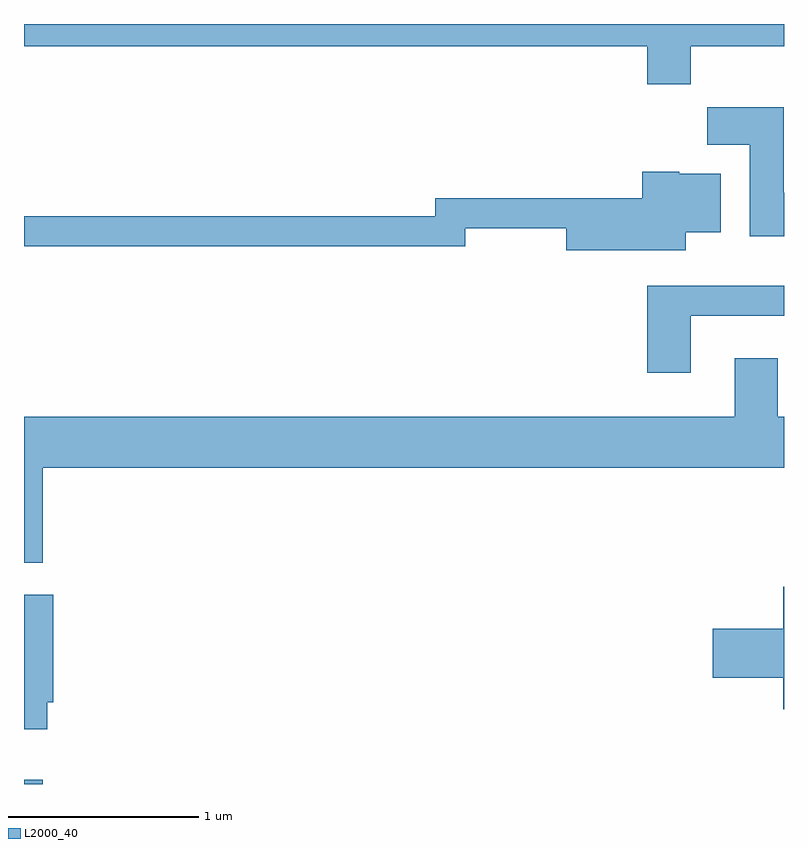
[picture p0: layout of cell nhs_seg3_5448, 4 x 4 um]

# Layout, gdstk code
import gdstk
lib = gdstk.Library(unit=1e-6, precision=1e-09)
def R(c, l, rs):  # rectangles x0, y0, x1, y1
    for r in rs: c.add(gdstk.rectangle(r[:2], r[2:], *l))
def P(c, l, *ps):  # polygons
    for p in ps: c.add(gdstk.Polygon(p, *l))
L2000_40 = (2000, 40)

nhs_seg3_5448 = lib.new_cell('nhs_seg3_5448')
R(nhs_seg3_5448, L2000_40, [(345.611,1139.892,345.709,1139.914)])
P(nhs_seg3_5448, L2000_40, [(349.119,1143.776),(349.611,1143.776),(349.611,1143.892),(345.611,1143.892),(345.611,1143.776),(348.891,1143.776),(348.891,1143.576),(349.119,1143.576)],
  [(349.611,1143.004),(349.609,1143.004),(349.609,1143.454),(349.206,1143.454),(349.206,1143.256),(349.431,1143.256),(349.431,1142.776),(349.611,1142.776)],
  [(349.094,1142.796),(349.279,1142.796),(349.279,1143.104),(349.06,1143.104),(349.06,1143.114),(348.866,1143.114),(348.866,1142.974),(347.776,1142.974),(347.776,1142.879),(345.611,1142.879),(345.611,1142.721),(347.934,1142.721),(347.934,1142.816),(348.466,1142.816),(348.466,1142.701),(349.094,1142.701)],
  [(349.119,1142.356),(349.611,1142.356),(349.611,1142.514),(348.891,1142.514),(348.891,1142.056),(349.119,1142.056)],
  [(345.709,1141.556),(349.611,1141.556),(349.611,1141.824),(349.579,1141.824),(349.579,1142.134),(349.351,1142.134),(349.351,1141.824),(345.611,1141.824),(345.611,1141.056),(345.709,1141.056)],
  [(349.611,1140.929),(349.606,1140.929),(349.606,1140.709),(349.236,1140.709),(349.236,1140.451),(349.606,1140.451),(349.606,1140.286),(349.611,1140.286)],
  [(345.734,1140.321),(345.764,1140.321),(345.764,1140.889),(345.611,1140.889),(345.611,1140.181),(345.734,1140.181)])

lib.write_gds('nhs_seg3_5448.gds')
